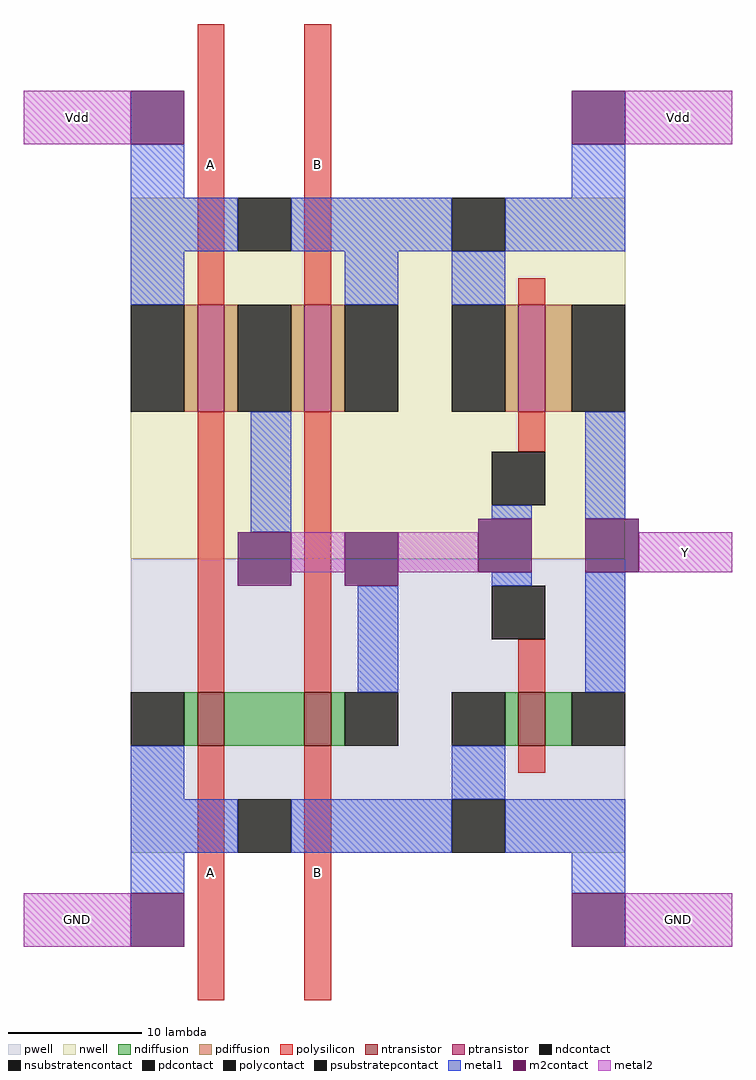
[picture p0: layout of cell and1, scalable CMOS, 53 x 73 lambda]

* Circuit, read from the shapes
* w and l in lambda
.subckt and1 A B GND Vdd Y
M1 n1 A GND GND nfet w=4 l=2
M2 n2 B n1 GND nfet w=4 l=2
M3 Y n2 GND GND nfet w=4 l=2
M4 n2 A Vdd Vdd pfet w=8 l=2
M5 Vdd B n2 Vdd pfet w=8 l=2
M6 Y n2 Vdd Vdd pfet w=8 l=2
.ends

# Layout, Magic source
magic
tech scmos
<< pwell >>
rect 4 -14 41 8
<< nwell >>
rect 4 8 41 35
<< polysilicon >>
rect 9 27 11 48
rect 17 27 19 48
rect 33 27 35 29
rect 9 -2 11 19
rect 17 -2 19 19
rect 33 16 35 19
rect 33 -2 35 2
rect 9 -25 11 -6
rect 17 -25 19 -6
rect 33 -8 35 -6
<< ndiffusion >>
rect 8 -6 9 -2
rect 11 -6 17 -2
rect 19 -6 20 -2
rect 32 -6 33 -2
rect 35 -6 37 -2
<< pdiffusion >>
rect 8 19 9 27
rect 11 19 12 27
rect 16 19 17 27
rect 19 19 20 27
rect 32 19 33 27
rect 35 19 37 27
<< metal1 >>
rect 4 35 8 39
rect 37 35 41 39
rect 4 31 12 35
rect 16 31 28 35
rect 32 31 41 35
rect 4 27 8 31
rect 20 27 24 31
rect 28 27 32 31
rect 13 10 16 19
rect 31 11 34 12
rect 21 -2 24 6
rect 31 6 34 7
rect 38 11 41 19
rect 38 -2 41 7
rect 4 -10 8 -6
rect 28 -10 32 -6
rect 4 -14 12 -10
rect 16 -14 28 -10
rect 32 -14 41 -10
rect 4 -17 8 -14
rect 37 -17 41 -14
<< metal2 >>
rect -4 39 4 43
rect 41 39 49 43
rect 16 7 20 10
rect 24 7 30 10
rect 42 7 49 10
rect -4 -21 4 -17
rect 41 -21 49 -17
<< ntransistor >>
rect 9 -6 11 -2
rect 17 -6 19 -2
rect 33 -6 35 -2
<< ptransistor >>
rect 9 19 11 27
rect 17 19 19 27
rect 33 19 35 27
<< polycontact >>
rect 31 12 35 16
rect 31 2 35 6
<< ndcontact >>
rect 4 -6 8 -2
rect 20 -6 24 -2
rect 28 -6 32 -2
rect 37 -6 41 -2
<< pdcontact >>
rect 4 19 8 27
rect 12 19 16 27
rect 20 19 24 27
rect 28 19 32 27
rect 37 19 41 27
<< m2contact >>
rect 4 39 8 43
rect 37 39 41 43
rect 12 6 16 10
rect 20 6 24 10
rect 30 7 34 11
rect 38 7 42 11
rect 4 -21 8 -17
rect 37 -21 41 -17
<< psubstratepcontact >>
rect 12 -14 16 -10
rect 28 -14 32 -10
<< nsubstratencontact >>
rect 12 31 16 35
rect 28 31 32 35
<< labels >>
rlabel metal2 -4 39 4 43 7 Vdd
rlabel polysilicon 9 27 11 48 1 A
rlabel polysilicon 17 27 19 48 1 B
rlabel metal2 41 39 49 43 3 Vdd
rlabel metal2 42 7 49 10 3 Y
rlabel metal2 41 -21 49 -17 3 GND
rlabel metal2 -4 -21 4 -17 7 GND
rlabel polysilicon 9 -25 11 -6 5 A
rlabel polysilicon 17 -25 19 -6 5 B
<< end >>
